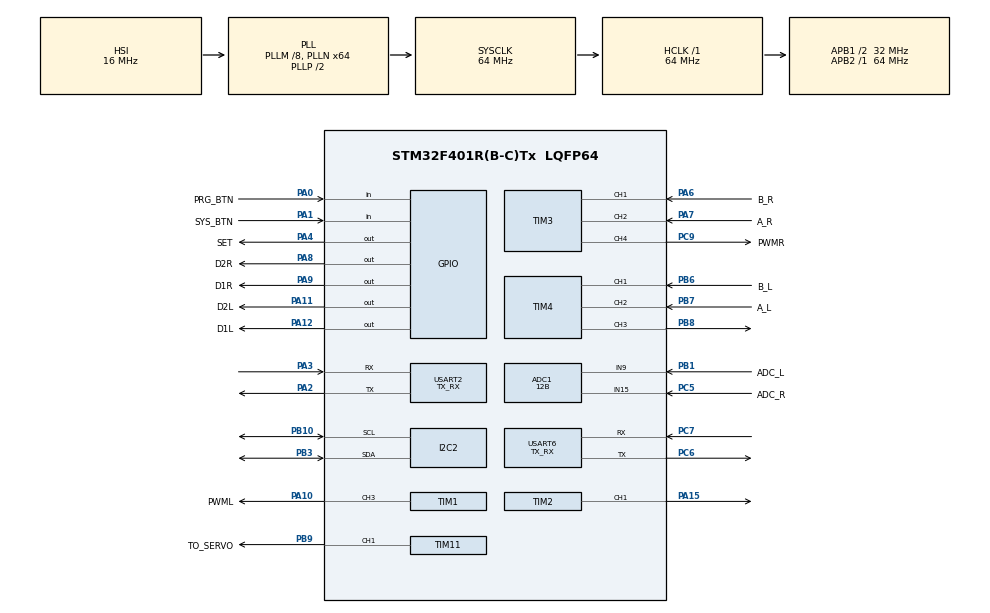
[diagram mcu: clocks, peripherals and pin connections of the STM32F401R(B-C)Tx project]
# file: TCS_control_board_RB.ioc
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ADC1.Channel-0\#ChannelRegularConversion=ADC_CHANNEL_9
ADC1.Channel-IN15=ADC_CHANNEL_15
ADC1.Channel-IN9=ADC_CHANNEL_9
ADC1.ClockPrescaler=ADC_CLOCK_SYNC_PCLK_DIV2
ADC1.ContinuousConvMode=DISABLE
ADC1.DMAContinuousRequests=DISABLE
ADC1.DataAlign=ADC_DATAALIGN_RIGHT
ADC1.DiscontinuousConvMode=DISABLE
ADC1.EOCSelection=ADC_EOC_SINGLE_CONV
ADC1.EnableAnalogWatchDog=false
ADC1.ExternalTrigConv=ADC_SOFTWARE_START
ADC1.ExternalTrigConvEdge=ADC_EXTERNALTRIGCONVEDGE_NONE
ADC1.Resolution=ADC_RESOLUTION_12B
ADC1.SamplingTime-0\#ChannelRegularConversion=ADC_SAMPLETIME_3CYCLES
ADC1.ScanConvMode=DISABLE
ADC1.master=1
Dma.MEMTOMEM.1.Direction=DMA_MEMORY_TO_MEMORY
Dma.MEMTOMEM.1.FIFOMode=DMA_FIFOMODE_ENABLE
Dma.MEMTOMEM.1.FIFOThreshold=DMA_FIFO_THRESHOLD_FULL
Dma.MEMTOMEM.1.Instance=DMA2_Stream0
Dma.MEMTOMEM.1.MemBurst=DMA_MBURST_SINGLE
Dma.MEMTOMEM.1.MemDataAlignment=DMA_MDATAALIGN_WORD
Dma.MEMTOMEM.1.MemInc=DMA_MINC_DISABLE
Dma.MEMTOMEM.1.Mode=DMA_NORMAL
Dma.MEMTOMEM.1.PeriphBurst=DMA_PBURST_SINGLE
Dma.MEMTOMEM.1.PeriphDataAlignment=DMA_PDATAALIGN_WORD
Dma.MEMTOMEM.1.PeriphInc=DMA_PINC_ENABLE
Dma.MEMTOMEM.1.Priority=DMA_PRIORITY_LOW
Dma.MEMTOMEM.2.Direction=DMA_MEMORY_TO_MEMORY
Dma.MEMTOMEM.2.FIFOMode=DMA_FIFOMODE_ENABLE
Dma.MEMTOMEM.2.FIFOThreshold=DMA_FIFO_THRESHOLD_FULL
Dma.MEMTOMEM.2.Instance=DMA2_Stream1
Dma.MEMTOMEM.2.MemBurst=DMA_MBURST_SINGLE
Dma.MEMTOMEM.2.MemDataAlignment=DMA_MDATAALIGN_WORD
Dma.MEMTOMEM.2.MemInc=DMA_MINC_ENABLE
Dma.MEMTOMEM.2.Mode=DMA_NORMAL
Dma.MEMTOMEM.2.PeriphBurst=DMA_PBURST_SINGLE
Dma.MEMTOMEM.2.PeriphDataAlignment=DMA_PDATAALIGN_WORD
Dma.MEMTOMEM.2.PeriphInc=DMA_PINC_ENABLE
Dma.MEMTOMEM.2.Priority=DMA_PRIORITY_LOW
Dma.Request0=USART2_RX
Dma.Request1=MEMTOMEM
Dma.Request2=MEMTOMEM
Dma.USART2_RX.0.Direction=DMA_PERIPH_TO_MEMORY
Dma.USART2_RX.0.FIFOMode=DMA_FIFOMODE_DISABLE
Dma.USART2_RX.0.Instance=DMA1_Stream5
Dma.USART2_RX.0.MemDataAlignment=DMA_MDATAALIGN_WORD
Dma.USART2_RX.0.MemInc=DMA_MINC_ENABLE
Dma.USART2_RX.0.Mode=DMA_CIRCULAR
Dma.USART2_RX.0.PeriphDataAlignment=DMA_PDATAALIGN_WORD
Dma.USART2_RX.0.PeriphInc=DMA_PINC_DISABLE
Dma.USART2_RX.0.Priority=DMA_PRIORITY_LOW
FREERTOS.HEAP_NUMBER=4
FREERTOS.INCLUDE_eTaskGetState=0
FREERTOS.INCLUDE_pcTaskGetTaskName=0
FREERTOS.INCLUDE_uxTaskGetStackHighWaterMark=0
FREERTOS.INCLUDE_uxTaskPriorityGet=1
FREERTOS.INCLUDE_vTaskCleanUpResources=0
FREERTOS.INCLUDE_vTaskDelay=1
FREERTOS.INCLUDE_vTaskDelayUntil=0
FREERTOS.INCLUDE_vTaskDelete=1
FREERTOS.INCLUDE_vTaskPrioritySet=1
FREERTOS.INCLUDE_vTaskSuspend=1
FREERTOS.INCLUDE_xEventGroupSetBitFromISR=0
FREERTOS.INCLUDE_xQueueGetMutexHolder=0
FREERTOS.INCLUDE_xSemaphoreGetMutexHolder=0
FREERTOS.INCLUDE_xTaskAbortDelay=0
FREERTOS.INCLUDE_xTaskGetCurrentTaskHandle=0
FREERTOS.INCLUDE_xTaskGetHandle=0
FREERTOS.INCLUDE_xTaskResumeFromISR=1
FREERTOS.MEMORY_ALLOCATION=0
FREERTOS.Mutexes01=Disp_BCD_State
FREERTOS.Tasks01=Display_Task,-3,128,StartDisplay_Task,Default,NULL,Dynamic,NULL,NULL;PID_control_bac,0,128,Start_PID_control_back,Default,NULL,Dynamic,NULL,NULL;Reaction_Task,0,128,Start_Reaction_Task,Default,NULL,Dynamic,NULL,NULL
FREERTOS.configCHECK_FOR_STACK_OVERFLOW=0
FREERTOS.configENABLE_BACKWARD_COMPATIBILITY=1
FREERTOS.configGENERATE_RUN_TIME_STATS=0
FREERTOS.configIDLE_SHOULD_YIELD=1
FREERTOS.configUSE_APPLICATION_TASK_TAG=0
FREERTOS.configUSE_COUNTING_SEMAPHORES=0
FREERTOS.configUSE_CO_ROUTINES=0
FREERTOS.configUSE_DAEMON_TASK_STARTUP_HOOK=0
FREERTOS.configUSE_IDLE_HOOK=0
FREERTOS.configUSE_MALLOC_FAILED_HOOK=0
FREERTOS.configUSE_MUTEXES=1
FREERTOS.configUSE_PORT_OPTIMISED_TASK_SELECTION=0
FREERTOS.configUSE_PREEMPTION=1
FREERTOS.configUSE_RECURSIVE_MUTEXES=0
FREERTOS.configUSE_TASK_NOTIFICATIONS=1
FREERTOS.configUSE_TICKLESS_IDLE=0
FREERTOS.configUSE_TICK_HOOK=0
FREERTOS.configUSE_TIMERS=0
FREERTOS.configUSE_TRACE_FACILITY=1
I2C2.AddressingMode=I2C_ADDRESSINGMODE_7BIT
I2C2.DualAddressMode=I2C_DUALADDRESS_DISABLE
I2C2.GeneralCallMode=I2C_GENERALCALL_DISABLE
I2C2.I2C_Mode=I2C_Standard
I2C2.NoStretchMode=I2C_NOSTRETCH_DISABLE
Mcu.Family=STM32F4
Mcu.Name=STM32F401R(B-C)Tx
Mcu.Package=LQFP64
NVIC.DMA1_Stream5_IRQn=true\:5\:0\:false\:false\:true\:true\:true
NVIC.DMA2_Stream0_IRQn=true\:5\:0\:false\:false\:true\:true\:true
NVIC.PriorityGroup=NVIC_PRIORITYGROUP_4
NVIC.TIM1_BRK_TIM9_IRQn=true\:5\:0\:false\:false\:true\:true\:true
NVIC.TIM1_UP_TIM10_IRQn=true\:0\:0\:true\:false\:true\:false\:true
NVIC.TimeBase=TIM1_UP_TIM10_IRQn
NVIC.TimeBaseIP=TIM10
NVIC.USART2_IRQn=true\:5\:0\:false\:false\:true\:true\:true
PA0-WKUP.GPIO_Label=PRG_BTN
PA0-WKUP.Signal=GPIO_Input
PA1.GPIO_Label=SYS_BTN
PA1.Signal=GPIO_Input
PA10.GPIO_Label=PWML
PA10.Signal=S_TIM1_CH3
PA11.GPIO_Label=D2L
PA11.Signal=GPIO_Output
PA12.GPIO_Label=D1L
PA12.Signal=GPIO_Output
PA13.Mode=Serial_Wire
PA13.Signal=SYS_JTMS-SWDIO
PA14.Mode=Serial_Wire
PA14.Signal=SYS_JTCK-SWCLK
PA15.Signal=S_TIM2_CH1_ETR
PA2.Mode=Asynchronous
PA2.Signal=USART2_TX
PA3.Mode=Asynchronous
PA3.Signal=USART2_RX
PA4.GPIO_Label=SET
PA4.Signal=GPIO_Output
PA6.GPIO_Label=B_R
PA6.Signal=S_TIM3_CH1
PA7.GPIO_Label=A_R
PA7.Signal=S_TIM3_CH2
PA8.GPIO_Label=D2R
PA8.Signal=GPIO_Output
PA9.GPIO_Label=D1R
PA9.Signal=GPIO_Output
PB1.GPIO_Label=ADC_L
PB1.Signal=ADCx_IN9
PB10.Mode=I2C
PB10.Signal=I2C2_SCL
PB3.Mode=I2C
PB3.Signal=I2C2_SDA
PB6.GPIO_Label=B_L
PB6.Signal=S_TIM4_CH1
PB7.GPIO_Label=A_L
PB7.Signal=S_TIM4_CH2
PB8.Signal=S_TIM4_CH3
PB9.GPIO_Label=TO_SERVO
PB9.Signal=S_TIM11_CH1
PC5.GPIO_Label=ADC_R
PC5.Signal=ADCx_IN15
PC6.Mode=Asynchronous
PC6.Signal=USART6_TX
PC7.Mode=Asynchronous
PC7.Signal=USART6_RX
PC9.GPIO_Label=PWMR
PC9.Signal=S_TIM3_CH4
PH0\ -\ OSC_IN.Mode=HSE-External-Oscillator
PH0\ -\ OSC_IN.Signal=RCC_OSC_IN
PH1\ -\ OSC_OUT.Mode=HSE-External-Oscillator
PH1\ -\ OSC_OUT.Signal=RCC_OSC_OUT
ProjectManager.HeapSize=0x200
ProjectManager.StackSize=0x400
ProjectManager.TargetToolchain=SW4STM32
RCC.48MHZClocksFreq_Value=32000000
RCC.AHBCLKDivider=RCC_SYSCLK_DIV1
RCC.AHBFreq_Value=64000000
RCC.APB1CLKDivider=RCC_HCLK_DIV2
RCC.APB1Freq_Value=32000000
RCC.APB1TimFreq_Value=64000000
RCC.APB2CLKDivider=RCC_HCLK_DIV1
RCC.APB2Freq_Value=64000000
RCC.APB2TimFreq_Value=64000000
RCC.CortexFreq_Value=64000000
RCC.Cortex_Div=SYSTICK_CLKSOURCE_HCLK
RCC.DATA_CACHE_ENABLE=1
RCC.FLatency=FLASH_LATENCY_2
RCC.HCLKFreq_Value=64000000
RCC.HSE_VALUE=20000000
RCC.HSI_VALUE=16000000
RCC.INSTRUCTION_CACHE_ENABLE=1
RCC.LSE_VALUE=32768
RCC.PLLM=8
RCC.PLLN=64
RCC.PLLP=RCC_PLLP_DIV2
RCC.PLLSourceVirtual=RCC_PLLSOURCE_HSI
RCC.PREFETCH_ENABLE=1
RCC.PWR_Regulator_Voltage_Scale=PWR_REGULATOR_VOLTAGE_SCALE2
RCC.RCC_MCODiv1=RCC_MCODIV_1
RCC.RCC_MCODiv2=RCC_MCODIV_1
RCC.RCC_RTC_Clock_Source_FROM_HSE=RCC_RTCCLKSOURCE_HSE_DIV2
RCC.RCC_TIM_PRescaler_Selection=RCC_TIMPRES_DESACTIVATED
RCC.SYSCLKFreq_VALUE=64000000
RCC.SYSCLKSource=RCC_SYSCLKSOURCE_PLLCLK
RCC.VCOOutputFreq_Value=128000000
SH.ADCx_IN15.0=ADC1_IN15,IN15
SH.ADCx_IN9.0=ADC1_IN9,IN9
SH.S_TIM11_CH1.0=TIM11_CH1,PWM Generation1 CH1
SH.S_TIM1_CH3.0=TIM1_CH3,PWM Generation3 CH3
SH.S_TIM2_CH1_ETR.0=TIM2_CH1,PWM Generation1 CH1
SH.S_TIM3_CH1.0=TIM3_CH1,Encoder_Interface
SH.S_TIM3_CH2.0=TIM3_CH2,Encoder_Interface
SH.S_TIM3_CH4.0=TIM3_CH4,PWM Generation4 CH4
SH.S_TIM4_CH1.0=TIM4_CH1,Encoder_Interface
SH.S_TIM4_CH2.0=TIM4_CH2,Encoder_Interface
SH.S_TIM4_CH3.0=TIM4_CH3,PWM Generation3 CH3
TIM1.AutomaticOutput=TIM_AUTOMATICOUTPUT_DISABLE
TIM1.BreakPolarity=TIM_BREAKPOLARITY_HIGH
TIM1.BreakState=TIM_BREAK_DISABLE
TIM1.Channel-PWM\ Generation3\ CH3=TIM_CHANNEL_3
TIM1.ClockDivision=TIM_CLOCKDIVISION_DIV1
TIM1.CounterMode=TIM_COUNTERMODE_UP
TIM1.LockLevel=TIM_LOCKLEVEL_OFF
TIM1.OCFastMode_PWM-PWM\ Generation3\ CH3=TIM_OCFAST_DISABLE
TIM1.OCIdleState_3=TIM_OCIDLESTATE_RESET
TIM1.OCMode_PWM-PWM\ Generation3\ CH3=TIM_OCMODE_PWM1
TIM1.OCPolarity_3=TIM_OCPOLARITY_HIGH
TIM1.OffStateIDLEMode=TIM_OSSI_DISABLE
TIM1.OffStateRunMode=TIM_OSSR_DISABLE
TIM1.TIM_MasterOutputTrigger=TIM_TRGO_RESET
TIM1.TIM_MasterSlaveMode=TIM_MASTERSLAVEMODE_DISABLE
TIM11.Channel=TIM_CHANNEL_1
TIM11.ClockDivision=TIM_CLOCKDIVISION_DIV1
TIM11.CounterMode=TIM_COUNTERMODE_UP
TIM11.OCFastMode_PWM=TIM_OCFAST_DISABLE
TIM11.OCMode_PWM=TIM_OCMODE_PWM1
TIM11.OCPolarity_1=TIM_OCPOLARITY_HIGH
TIM2.Channel-PWM\ Generation1\ CH1=TIM_CHANNEL_1
TIM2.ClockDivision=TIM_CLOCKDIVISION_DIV1
TIM2.CounterMode=TIM_COUNTERMODE_UP
TIM2.OCFastMode_PWM-PWM\ Generation1\ CH1=TIM_OCFAST_DISABLE
TIM2.OCMode_PWM-PWM\ Generation1\ CH1=TIM_OCMODE_PWM1
TIM2.OCPolarity_1=TIM_OCPOLARITY_HIGH
TIM2.TIM_MasterOutputTrigger=TIM_TRGO_RESET
TIM2.TIM_MasterSlaveMode=TIM_MASTERSLAVEMODE_DISABLE
TIM3.Channel-PWM\ Generation4\ CH4=TIM_CHANNEL_4
TIM3.ClockDivision=TIM_CLOCKDIVISION_DIV1
TIM3.CounterMode=TIM_COUNTERMODE_UP
TIM3.EncoderMode=TIM_ENCODERMODE_TI1
TIM3.IC1Polarity=TIM_ICPOLARITY_RISING
TIM3.IC1Prescaler=TIM_ICPSC_DIV1
TIM3.IC1Selection=TIM_ICSELECTION_DIRECTTI
TIM3.IC2Polarity=TIM_ICPOLARITY_RISING
TIM3.IC2Prescaler=TIM_ICPSC_DIV1
TIM3.IC2Selection=TIM_ICSELECTION_DIRECTTI
TIM3.OCFastMode_PWM-PWM\ Generation4\ CH4=TIM_OCFAST_DISABLE
TIM3.OCMode_PWM-PWM\ Generation4\ CH4=TIM_OCMODE_PWM1
TIM3.OCPolarity_4=TIM_OCPOLARITY_HIGH
TIM3.TIM_MasterOutputTrigger=TIM_TRGO_RESET
TIM3.TIM_MasterSlaveMode=TIM_MASTERSLAVEMODE_DISABLE
TIM4.Channel-PWM\ Generation3\ CH3=TIM_CHANNEL_3
TIM4.ClockDivision=TIM_CLOCKDIVISION_DIV1
TIM4.CounterMode=TIM_COUNTERMODE_UP
TIM4.EncoderMode=TIM_ENCODERMODE_TI1
TIM4.IC1Polarity=TIM_ICPOLARITY_RISING
TIM4.IC1Prescaler=TIM_ICPSC_DIV1
TIM4.IC1Selection=TIM_ICSELECTION_DIRECTTI
TIM4.IC2Polarity=TIM_ICPOLARITY_RISING
TIM4.IC2Prescaler=TIM_ICPSC_DIV1
TIM4.IC2Selection=TIM_ICSELECTION_DIRECTTI
TIM4.OCFastMode_PWM-PWM\ Generation3\ CH3=TIM_OCFAST_DISABLE
TIM4.OCMode_PWM-PWM\ Generation3\ CH3=TIM_OCMODE_PWM1
TIM4.OCPolarity_3=TIM_OCPOLARITY_HIGH
TIM4.TIM_MasterOutputTrigger=TIM_TRGO_RESET
TIM4.TIM_MasterSlaveMode=TIM_MASTERSLAVEMODE_DISABLE
USART2.Mode=MODE_TX_RX
USART2.OverSampling=UART_OVERSAMPLING_16
USART2.Parity=PARITY_NONE
USART2.StopBits=STOPBITS_1
USART2.VirtualMode=VM_ASYNC
USART2.WordLength=WORDLENGTH_8B
USART6.Mode=MODE_TX_RX
USART6.OverSampling=UART_OVERSAMPLING_16
USART6.Parity=PARITY_NONE
USART6.StopBits=STOPBITS_1
USART6.VirtualMode=VM_ASYNC
USART6.WordLength=WORDLENGTH_8B
VP_CRC_VS_CRC.Mode=CRC_Activate
VP_FREERTOS_VS_ENABLE.Mode=Enabled
VP_SYS_VS_tim10.Mode=TIM10
VP_TIM11_VS_ClockSourceINT.Mode=Enable_Timer
VP_TIM1_VS_ClockSourceINT.Mode=Internal
board=TCS_control_board_RB

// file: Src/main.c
/**
  ******************************************************************************
  * File Name          : main.c
  * Description        : Main program body
  ******************************************************************************
  *
  * Copyright (c) 2017 STMicroelectronics International N.V.
  * All rights reserved.
  *
  * Redistribution and use in source and binary forms, with or without
  * modification, are permitted, provided that the following conditions are met:
  *
  * 1. Redistribution of source code must retain the above copyright notice,
  *    this list of conditions and the following disclaimer.
  * 2. Redistributions in binary form must reproduce the above copyright notice,
  *    this list of conditions and the following disclaimer in the documentation
  *    and/or other materials provided with the distribution.
  * 3. Neither the name of STMicroelectronics nor the names of other
  *    contributors to this software may be used to endorse or promote products
  *    derived from this software without specific written permission.
  * 4. This software, including modifications and/or derivative works of this
  *    software, must execute solely and exclusively on microcontroller or
  *    microprocessor devices manufactured by or for STMicroelectronics.
  * 5. Redistribution and use of this software other than as permitted under
  *    this license is void and will automatically terminate your rights under
  *    this license.
  *
  * THIS SOFTWARE IS PROVIDED BY STMICROELECTRONICS AND CONTRIBUTORS "AS IS"
  * AND ANY EXPRESS, IMPLIED OR STATUTORY WARRANTIES, INCLUDING, BUT NOT
  * LIMITED TO, THE IMPLIED WARRANTIES OF MERCHANTABILITY, FITNESS FOR A
  * PARTICULAR PURPOSE AND NON-INFRINGEMENT OF THIRD PARTY INTELLECTUAL PROPERTY
  * RIGHTS ARE DISCLAIMED TO THE FULLEST EXTENT PERMITTED BY LAW. IN NO EVENT
  * SHALL STMICROELECTRONICS OR CONTRIBUTORS BE LIABLE FOR ANY DIRECT, INDIRECT,
  * INCIDENTAL, SPECIAL, EXEMPLARY, OR CONSEQUENTIAL DAMAGES (INCLUDING, BUT NOT
  * LIMITED TO, PROCUREMENT OF SUBSTITUTE GOODS OR SERVICES; LOSS OF USE, DATA,
  * OR PROFITS; OR BUSINESS INTERRUPTION) HOWEVER CAUSED AND ON ANY THEORY OF
  * LIABILITY, WHETHER IN CONTRACT, STRICT LIABILITY, OR TORT (INCLUDING
  * NEGLIGENCE OR OTHERWISE) ARISING IN ANY WAY OUT OF THE USE OF THIS SOFTWARE,
  * EVEN IF ADVISED OF THE POSSIBILITY OF SUCH DAMAGE.
  *
  ******************************************************************************
  */
#include "main.h"
#include "stm32f4xx_hal.h"
#include "cmsis_os.h"
#include "adc.h"
#include "crc.h"
#include "dma.h"
#include "i2c.h"
#include "tim.h"
#include "usart.h"
#include "gpio.h"

/* USER CODE BEGIN Includes */

#include "Basic_global_structures/global_structures.h"
#include "My_code/BCD_display_driver.h"
#include "My_code/crc.h"
#include "My_code/timeout.h"

#include "My_code/callbacks.h"

/* USER CODE END Includes */

/* USER CODE BEGIN PV */
/* Private variables ---------------------------------------------------------*/

//Global variable for USART RX DMA circular operation
char Rx_single_char = '\000';
//First buffer for UART (DMA)
//volatile uint32_t FrameBuffer[20] = {0};
volatile union FrameBuffer FrameBuffer;
//Second buffer for UART (DMA)
volatile union FrameBuffer FrameBuffer2;
//volatile uint32_t FrameBuffer2[20] = {0};
//Which FrameBuffer is send to CRC block
volatile uint8_t FrameBufferIndicator = 0;
//Temporary variable for indication of correct CRC
volatile uint8_t truth=0;

//data structure that holds data received from host controller

volatile union TCS_input_data TCS_input_data;

//Global variable for frame completition
volatile char Rx_whole_frame_buffer[SERIAL_BUF_SIZE_Uint8t];

//Global variable for frame completition
uint8_t serial_buffer_counter =0;
//
char errorframe[8] = {0x41,0x41,0x41,0x41,0x41,0x41,0x41,0x41};
char errorframe2[8] = {0x42,0x42,0x42,0x42,0x42,0x42,0x42,0x42};

extern volatile uint8_t TimeoutEventFlag;
/* USER CODE END PV */

void SystemClock_Config(void);
void Error_Handler(void);
void MX_FREERTOS_Init(void);

/* USER CODE BEGIN PFP */
/* Private function prototypes -----------------------------------------------*/

/* USER CODE END PFP */

int main(void)
{

  /* MCU Configuration----------------------------------------------------------*/

  /* Reset of all peripherals, Initializes the Flash interface and the Systick. */
  HAL_Init();

  /* Configure the system clock */
  SystemClock_Config();

  /* Initialize all configured peripherals */
  MX_GPIO_Init();
  MX_DMA_Init();
  MX_ADC1_Init();
  MX_CRC_Init();
  MX_I2C2_Init();
  MX_TIM1_Init();
  MX_TIM2_Init();
  MX_TIM3_Init();
  MX_TIM4_Init();
  MX_TIM11_Init();
  MX_USART2_UART_Init();
  MX_USART6_UART_Init();

  /* USER CODE BEGIN 2 */
  /*
   * Timeout timer test.
   */
  //run my config for timeout timer
  Timeout_TIM9_Init();
//TIM9->CR1 |= TIM_CR1_CEN;

	/*
	 * Short description:
	 * DMA reads from UART2 Rx 8bits at a time, and moves that data
	 * in turns into memory M0 and M1. (does that N times, defined in HAL_UART_Receive_DMA(&huart2, &FrameBuffer, N);)
	 * When transfer to M0 is complete then HAL_UART_RxCpltCallback is invoked.
	 * When transfer to M1 is complete then my function is invoked. That is setup
	 * by calling HAL_DMA_RegisterCallback(&hdma_usart2_rx, HAL_DMA_XFER_M1CPLT_CB_ID,TransferComplete);
	 */
	hdma_usart2_rx.Instance = DMA1_Stream5;
	hdma_usart2_rx.Init.Channel = DMA_CHANNEL_4;
	hdma_usart2_rx.Init.Direction = DMA_PERIPH_TO_MEMORY;
	hdma_usart2_rx.Init.PeriphInc = DMA_PINC_DISABLE;
	hdma_usart2_rx.Init.MemInc = DMA_MINC_ENABLE;
	hdma_usart2_rx.Init.PeriphDataAlignment = DMA_PDATAALIGN_BYTE;
	hdma_usart2_rx.Init.MemDataAlignment = DMA_MDATAALIGN_BYTE;
	hdma_usart2_rx.Init.Mode = DMA_CIRCULAR;
	hdma_usart2_rx.Init.Priority = DMA_PRIORITY_LOW; // in future check if needs to be changed
	hdma_usart2_rx.Init.FIFOMode = DMA_FIFOMODE_DISABLE;
	hdma_usart2_rx.Init.FIFOThreshold = DMA_FIFO_THRESHOLD_HALFFULL;
	hdma_usart2_rx.Init.MemBurst = DMA_MBURST_SINGLE;
	hdma_usart2_rx.Init.PeriphBurst = DMA_PBURST_SINGLE;
	HAL_DMA_Init(&hdma_usart2_rx);

	// required link function
	__HAL_LINKDMA(&huart2, hdmarx, hdma_usart2_rx);
	//make uart clean of trash
//	__HAL_UART_FLUSH_DRREGISTER(&huart2);
	HAL_StatusTypeDef status;
	//Register Callback (invoke my function TransferComplete) when transfer to memory M1 is completed
	HAL_DMA_RegisterCallback(&hdma_usart2_rx, HAL_DMA_XFER_M1CPLT_CB_ID,TransferComplete);
	//Set M1 target memory base adress
	DMA1_Stream5->M1AR = (uint32_t)FrameBuffer2.byte;
	//start DMA receiving to M0
	HAL_UART_Receive_DMA(&huart2, &FrameBuffer.byte, 76);
	//Turn off preconfigured DMA for HAL workaround
	DMA1_Stream5->CR &= ~DMA_SxCR_EN;
	//Setup Double buffer for UART_RX_DMA
	DMA1_Stream5->CR |= DMA_SxCR_DBM;
	//Run DMA
	DMA1_Stream5->CR |= DMA_SxCR_EN;
	//The workaround is complete!

	HAL_NVIC_SetPriority(USART2_IRQn, 5, 0);
	HAL_NVIC_EnableIRQ(USART2_IRQn);
	USART2->CR1 |= USART_CR1_RXNEIE;

	/*
	 * TEST OF DMA MEM TO MEM CONFIG FOR CRC CALCULATION
	 */
	//CALLBACK REGISTRATION
	osDelay(500); // this delay is necessary to set those callback, otherwise they have chance to not me eqecuted (HAL_BUSY or some shit)
	HAL_DMA_RegisterCallback(&hdma_memtomem_dma2_stream0, HAL_DMA_XFER_CPLT_CB_ID, DMA_CRC_COMPLETE_Callback);
	HAL_DMA_RegisterCallback(&hdma_memtomem_dma2_stream1, HAL_DMA_XFER_CPLT_CB_ID, HOST_COMMAND_COMPLETE_Callback);
	/*
	 * DMA FRAME TO SETTINGS AND SET VALUE struct/union
	 */
	//TIM9->CR1 |= TIM_CR1_CEN;

	/*
	 * Test of CRC module
	 */
//	uint32_t dummy[19];
//	int i=0;
//	for(i=0; i<19; i++)
//	{
//		dummy[i] = 0x61626364;
//	}
//	CRC->CR |= CRC_CR_RESET;
//	for (i = 0; i<19; i++)
//	{
//		//this writes to CRC->DR (via cast to uint32_t the CRC_BASE address)
//		//*(__IO DATATYPE*)(CRC_BASE) = (uint32_t)dummy32;
//		CRC->DR = dummy[i];
//	}
//	uint32_t result = CRC->DR;
//	CRC->CR |= CRC_CR_RESET;
//	serial_buffer.serial_buf_char[0] = 'a'; //0x61
//	serial_buffer.serial_buf_char[1] = 'b'; //0x62
//	serial_buffer.serial_buf_char[2] = 'c'; //0x63
//	serial_buffer.serial_buf_char[3] = 'd'; //0x64
//
//	uint32_t dummy = serial_buffer.serial_buf_4char[0]; //??? 0x64636261 wtf...
//	uint32_t dummy_revd = __REV(dummy);
//
//	serial_buffer.serial_buf_char[4] = 'e';
//	serial_buffer.serial_buf_char[5] = 'f';
//	serial_buffer.serial_buf_char[6] = 'g';
//	serial_buffer.serial_buf_char[7] = 'h';
//
//	CRC->CR |= CRC_CR_RESET;
//
//	uint32_t result = CRC_CalcBlockCRCxxbits();
//	uint32_t blah = ~result;
//	uint32_t blah2 = blah ^ 0xFFFFFFFF;
	// CRC TEST PASSED!

  /* USER CODE END 2 */

  /* Call init function for freertos objects (in freertos.c) */
  MX_FREERTOS_Init();

  /* Start scheduler */
  osKernelStart();

  /* We should never get here as control is now taken by the scheduler */

  /* Infinite loop */
	while (1) {

	}

}

/** System Clock Configuration
*/
void SystemClock_Config(void)
{

  RCC_OscInitTypeDef RCC_OscInitStruct;
  RCC_ClkInitTypeDef RCC_ClkInitStruct;

    /**Configure the main internal regulator output voltage
    */
  __HAL_RCC_PWR_CLK_ENABLE();

  __HAL_PWR_VOLTAGESCALING_CONFIG(PWR_REGULATOR_VOLTAGE_SCALE2);

    /**Initializes the CPU, AHB and APB busses clocks
    */
  RCC_OscInitStruct.OscillatorType = RCC_OSCILLATORTYPE_HSI;
  RCC_OscInitStruct.HSIState = RCC_HSI_ON;
  RCC_OscInitStruct.HSICalibrationValue = 16;
  RCC_OscInitStruct.PLL.PLLState = RCC_PLL_ON;
  RCC_OscInitStruct.PLL.PLLSource = RCC_PLLSOURCE_HSI;
  RCC_OscInitStruct.PLL.PLLM = 8;
  RCC_OscInitStruct.PLL.PLLN = 64;
  RCC_OscInitStruct.PLL.PLLP = RCC_PLLP_DIV2;
  RCC_OscInitStruct.PLL.PLLQ = 4;
  if (HAL_RCC_OscConfig(&RCC_OscInitStruct) != HAL_OK)
  {
    Error_Handler();
  }

    /**Initializes the CPU, AHB and APB busses clocks
    */
  RCC_ClkInitStruct.ClockType = RCC_CLOCKTYPE_HCLK|RCC_CLOCKTYPE_SYSCLK
                              |RCC_CLOCKTYPE_PCLK1|RCC_CLOCKTYPE_PCLK2;
  RCC_ClkInitStruct.SYSCLKSource = RCC_SYSCLKSOURCE_PLLCLK;
  RCC_ClkInitStruct.AHBCLKDivider = RCC_SYSCLK_DIV1;
  RCC_ClkInitStruct.APB1CLKDivider = RCC_HCLK_DIV2;
  RCC_ClkInitStruct.APB2CLKDivider = RCC_HCLK_DIV1;

  if (HAL_RCC_ClockConfig(&RCC_ClkInitStruct, FLASH_LATENCY_2) != HAL_OK)
  {
    Error_Handler();
  }

    /**Configure the Systick interrupt time
    */
  HAL_SYSTICK_Config(HAL_RCC_GetHCLKFreq()/1000);

    /**Configure the Systick
    */
  HAL_SYSTICK_CLKSourceConfig(SYSTICK_CLKSOURCE_HCLK);

  /* SysTick_IRQn interrupt configuration */
  HAL_NVIC_SetPriority(SysTick_IRQn, 15, 0);
}

void HAL_TIM_PeriodElapsedCallback(TIM_HandleTypeDef *htim)
{
  if (htim->Instance == TIM10) {
    HAL_IncTick();
  }
/* USER CODE BEGIN Callback 1 */
	if(htim->Instance == TIM9)
	{
		uint32_t dummy = 1;
	}

/* USER CODE END Callback 1 */
}

void Error_Handler(void)
{
	while (1) {
	}
}

/************************ (C) COPYRIGHT STMicroelectronics *****END OF FILE****/

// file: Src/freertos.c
/**
  ******************************************************************************
  * File Name          : freertos.c
  * Description        : Code for freertos applications
  ******************************************************************************
  *
  * Copyright (c) 2017 STMicroelectronics International N.V.
  * All rights reserved.
  *
  * Redistribution and use in source and binary forms, with or without
  * modification, are permitted, provided that the following conditions are met:
  *
  * 1. Redistribution of source code must retain the above copyright notice,
  *    this list of conditions and the following disclaimer.
  * 2. Redistributions in binary form must reproduce the above copyright notice,
  *    this list of conditions and the following disclaimer in the documentation
  *    and/or other materials provided with the distribution.
  * 3. Neither the name of STMicroelectronics nor the names of other
  *    contributors to this software may be used to endorse or promote products
  *    derived from this software without specific written permission.
  * 4. This software, including modifications and/or derivative works of this
  *    software, must execute solely and exclusively on microcontroller or
  *    microprocessor devices manufactured by or for STMicroelectronics.
  * 5. Redistribution and use of this software other than as permitted under
  *    this license is void and will automatically terminate your rights under
  *    this license.
  *
  * THIS SOFTWARE IS PROVIDED BY STMICROELECTRONICS AND CONTRIBUTORS "AS IS"
  * AND ANY EXPRESS, IMPLIED OR STATUTORY WARRANTIES, INCLUDING, BUT NOT
  * LIMITED TO, THE IMPLIED WARRANTIES OF MERCHANTABILITY, FITNESS FOR A
  * PARTICULAR PURPOSE AND NON-INFRINGEMENT OF THIRD PARTY INTELLECTUAL PROPERTY
  * RIGHTS ARE DISCLAIMED TO THE FULLEST EXTENT PERMITTED BY LAW. IN NO EVENT
  * SHALL STMICROELECTRONICS OR CONTRIBUTORS BE LIABLE FOR ANY DIRECT, INDIRECT,
  * INCIDENTAL, SPECIAL, EXEMPLARY, OR CONSEQUENTIAL DAMAGES (INCLUDING, BUT NOT
  * LIMITED TO, PROCUREMENT OF SUBSTITUTE GOODS OR SERVICES; LOSS OF USE, DATA,
  * OR PROFITS; OR BUSINESS INTERRUPTION) HOWEVER CAUSED AND ON ANY THEORY OF
  * LIABILITY, WHETHER IN CONTRACT, STRICT LIABILITY, OR TORT (INCLUDING
  * NEGLIGENCE OR OTHERWISE) ARISING IN ANY WAY OUT OF THE USE OF THIS SOFTWARE,
  * EVEN IF ADVISED OF THE POSSIBILITY OF SUCH DAMAGE.
  *
  ******************************************************************************
  */

#include "FreeRTOS.h"
#include "task.h"
#include "cmsis_os.h"

/* USER CODE BEGIN Includes */
#include "Basic_global_structures/global_structures.h"
/* USER CODE END Includes */

osThreadId Display_TaskHandle;
osThreadId PID_control_bacHandle;
osThreadId Reaction_TaskHandle;
osMutexId Disp_BCD_StateHandle;

/* USER CODE BEGIN Variables */
extern union FrameBuffer FrameBuffer;
extern union FrameBuffer FrameBuffer2;
extern volatile union TCS_input_data TCS_input_data;
/* USER CODE END Variables */

void StartDisplay_Task(void const * argument);
void Start_PID_control_back(void const * argument);
void Start_Reaction_Task(void const * argument);

void MX_FREERTOS_Init(void); /* (MISRA C 2004 rule 8.1) */

/* Hook prototypes */

/* Init FreeRTOS */

void MX_FREERTOS_Init(void) {

  /* Create the mutex(es) */
  /* definition and creation of Disp_BCD_State */
  osMutexDef(Disp_BCD_State);
  Disp_BCD_StateHandle = osMutexCreate(osMutex(Disp_BCD_State));

  /* Create the thread(s) */
  /* definition and creation of Display_Task */
  osThreadDef(Display_Task, StartDisplay_Task, osPriorityIdle, 0, 128);
  Display_TaskHandle = osThreadCreate(osThread(Display_Task), NULL);

  /* definition and creation of PID_control_bac */
  osThreadDef(PID_control_bac, Start_PID_control_back, osPriorityNormal, 0, 128);
  PID_control_bacHandle = osThreadCreate(osThread(PID_control_bac), NULL);

  /* definition and creation of Reaction_Task */
  osThreadDef(Reaction_Task, Start_Reaction_Task, osPriorityNormal, 0, 128);
  Reaction_TaskHandle = osThreadCreate(osThread(Reaction_Task), NULL);

}

/* StartDisplay_Task function */
void StartDisplay_Task(void const * argument)
{

  /* USER CODE BEGIN StartDisplay_Task */
  /* Infinite loop */
  for(;;)
  {
	  uint32_t val = FrameBuffer.word[0];
	  uint32_t val2 = FrameBuffer2.word[0];

    osDelay(1);
  }
  /* USER CODE END StartDisplay_Task */
}

/* Start_PID_control_back function */
void Start_PID_control_back(void const * argument)
{
  for(;;)
  {
    osDelay(1);
  }
}

/* Start_Reaction_Task function */
void Start_Reaction_Task(void const * argument)
{
  for(;;)
  {
    osDelay(1);
  }
}

/************************ (C) COPYRIGHT STMicroelectronics *****END OF FILE****/
